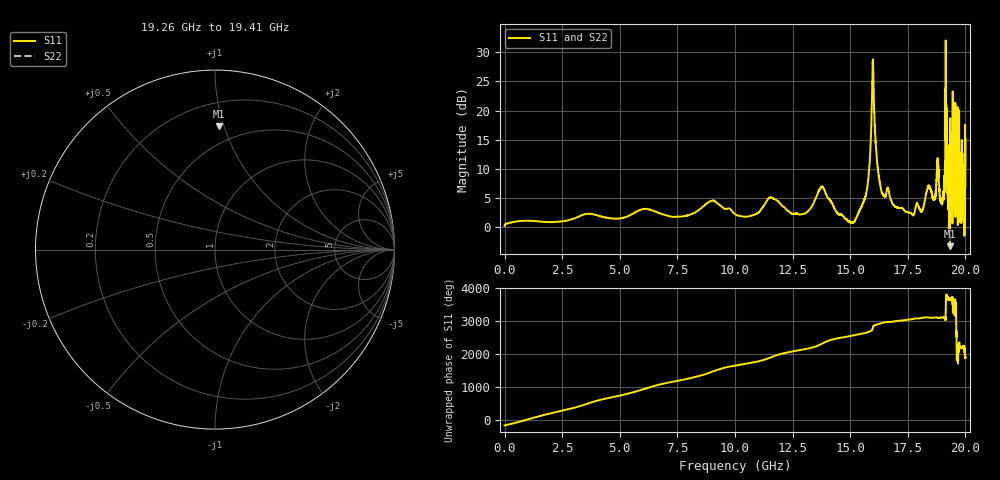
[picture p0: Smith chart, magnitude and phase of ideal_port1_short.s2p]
! Created with skrf (http://scikit-rf.org).
# GHz S RI R 50.0
!freq ReS11 ImS11 ReS21 ImS21 ReS12 ImS12 ReS22 ImS22
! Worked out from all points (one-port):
!   10001 points, 1 MHz to 20 GHz, reference 50 ohm
!   lowest |S11| = -3.2 dB at 19.33 GHz (marker M1), VSWR 5.42, Z = 18.4 + j48.3 ohm
!   |S11| at or under -10 dB: nowhere
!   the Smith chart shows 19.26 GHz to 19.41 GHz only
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0.001  -1.026 -0.0243  0 0  0 0  -1.026 -0.0243
2.558872  0.1517 -1.118  0 0  0 0  0.1517 -1.118
3.334833  0.5559 1.136  0 0  0 0  0.5559 1.136
5.926704  -1.416 -0.101  0 0  0 0  -1.416 -0.101
6.668667  1.222 -0.5296  0 0  0 0  1.222 -0.5296
8.108595  -1.285 -0.1363  0 0  0 0  -1.285 -0.1363
8.972551  1.669 0.2113  0 0  0 0  1.669 0.2113
10.0005  -1.21 -0.4559  0 0  0 0  -1.21 -0.4559
13.33433  1.343 0.6825  0 0  0 0  1.343 0.6825
13.83631  -2.144 0.3953  0 0  0 0  -2.144 0.3953
14.71026  1.186 -0.3431  0 0  0 0  1.186 -0.3431
15.75021  -1.568 1.607  0 0  0 0  -1.568 1.607
15.84421  -3.348 1.195  0 0  0 0  -3.348 1.195
15.88421  -5.087 0.6289  0 0  0 0  -5.087 0.6289
15.9242  -8.279 -1.317  0 0  0 0  -8.279 -1.317
16.0042  13.9 -16.26  0 0  0 0  13.9 -16.26
16.0882  6.192 -0.1022  0 0  0 0  6.192 -0.1022
16.18019  3.279 1.002  0 0  0 0  3.279 1.002
16.66817  0.1201 2.054  0 0  0 0  0.1201 2.054
18.76606  -2.015 -2.102  0 0  0 0  -2.015 -2.102
19.33003  0.024 0.688  0 0  0 0  0.024 0.688
20  0.5346 2.137  0 0  0 0  0.5346 2.137
